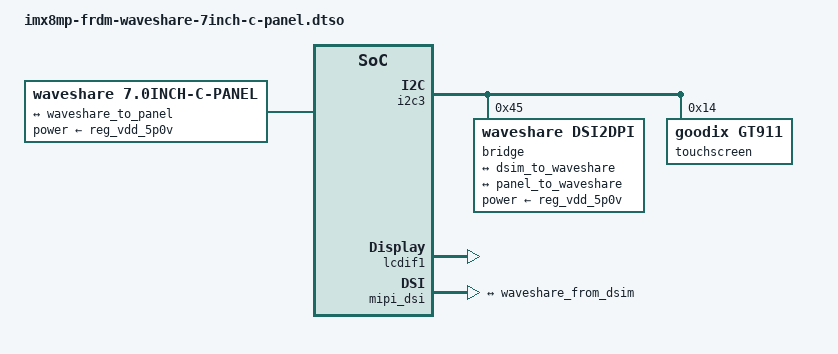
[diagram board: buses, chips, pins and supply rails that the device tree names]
// SPDX-License-Identifier: (GPL-2.0+ OR MIT)
/*
 * Copyright 2025 NXP
 */

/dts-v1/;
/plugin/;

&{/} {
	panel {
		compatible = "waveshare,7.0inch-c-panel", "panel-dpi";
		power-supply = <&reg_vdd_5p0v>;

		port {
			panel_to_waveshare: endpoint {
				remote-endpoint = <&waveshare_to_panel>;
			};
		};

		panel-timing {
			clock-frequency = <50000000>;
			hactive = <1024>;
			vactive = <600>;
			hfront-porch = <100>;
			hback-porch = <100>;
			hsync-len = <100>;
			vback-porch = <10>;
			vfront-porch = <10>;
			vsync-len = <10>;

			hsync-active = <0>;
			vsync-active = <0>;
			de-active = <1>;
			pixelclk-active = <1>;
		};
	};
};

&i2c3 {
	#address-cells = <1>;
	#size-cells = <0>;

	bridge@45 {
		compatible = "waveshare,dsi2dpi";
		reg = <0x45>;
		power-supply = <&reg_vdd_5p0v>;

		ports {
			#address-cells = <1>;
			#size-cells = <0>;

			port@0 {
				reg = <0>;

				waveshare_from_dsim: endpoint {
					data-lanes = <1 2>;
					remote-endpoint = <&dsim_to_waveshare>;
				};
			};

			port@1 {
				reg = <1>;

				waveshare_to_panel: endpoint {
					remote-endpoint = <&panel_to_waveshare>;
				};
			};
		};
	};

	touchscreen@14 {
		compatible = "goodix,gt911";
		reg = <0x14>;
		touchscreen-size-x = <800>;
		touchscreen-size-y = <480>;
	};
};

&lcdif1 {
	status = "okay";
};

&media_blk_ctrl {
	/* currently it is not possible to let IMX8MP_VIDEO_PLL1
	 * configure automatically, so we need to set it manually
	 */
	assigned-clock-rates = <500000000>, <200000000>, <0>, <0>, <400000000>;
};

&mipi_dsi {
	#address-cells = <1>;
	#size-cells = <0>;
	status = "okay";

	port@1 {
		reg = <1>;

		dsim_to_waveshare: endpoint {
			remote-endpoint = <&waveshare_from_dsim>;
			attach-bridge;
		};
	};
};
